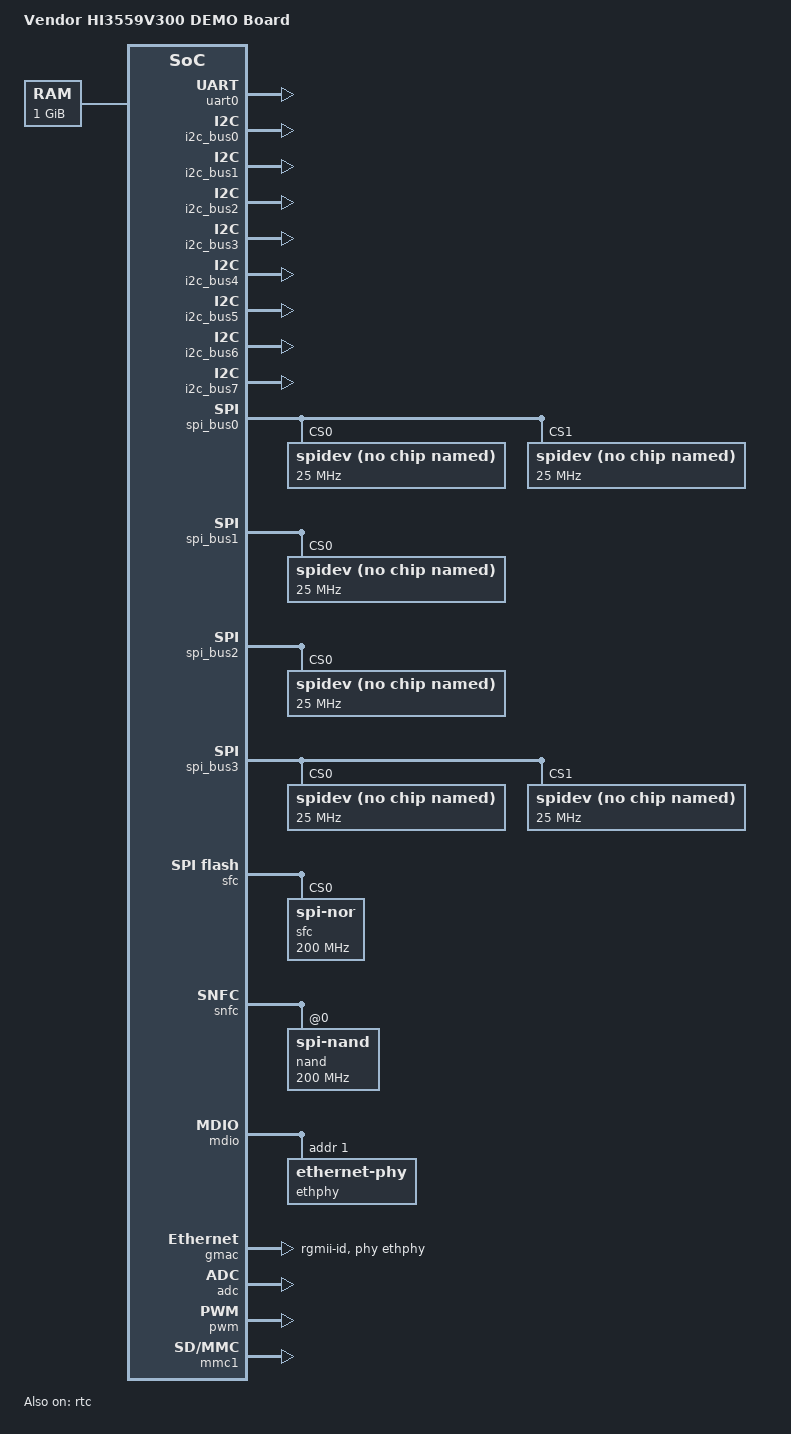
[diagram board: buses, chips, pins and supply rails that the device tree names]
/*
 * Copyright (c) HiSilicon (Shanghai) Technologies Co., Ltd. 2020-2023. All rights reserved.
 */

/dts-v1/;
/* reserved for warmreset */
/* reserved for arm trustedfirmware */
/* Modify this configuration according to the system framework */

#include "hi3559v300.dtsi"

/ {
	model = "Vendor HI3559V300 DEMO Board";
	compatible = "vendor,hi3559v300";

	aliases {
		serial0 = &uart0;

		serial1 = &uart1;
		serial2 = &uart2;
		serial3 = &uart3;
		serial4 = &uart4;
		serial5 = &uart5;

		i2c0 = &i2c_bus0;
		i2c1 = &i2c_bus1;
		i2c2 = &i2c_bus2;
		i2c3 = &i2c_bus3;
		i2c4 = &i2c_bus4;
		i2c5 = &i2c_bus5;
		i2c6 = &i2c_bus6;
		i2c7 = &i2c_bus7;

		spi0 = &spi_bus0;
		spi1 = &spi_bus1;
		spi2 = &spi_bus2;
		spi3 = &spi_bus3;

		gpio0 = &gpio_chip0;
		gpio1 = &gpio_chip1;
		gpio2 = &gpio_chip2;
		gpio3 = &gpio_chip3;
		gpio4 = &gpio_chip4;
		gpio5 = &gpio_chip5;
		gpio6 = &gpio_chip6;
		gpio7 = &gpio_chip7;
		gpio8 = &gpio_chip8;
		gpio9 = &gpio_chip9;
		gpio10 = &gpio_chip10;
		gpio11 = &gpio_chip11;
		gpio12 = &gpio_chip12;
		gpio13 = &gpio_chip13;
		gpio14 = &gpio_chip14;
	};

	chosen {
		bootargs = "earlycon=pl011,0x11040000 mem=512M console=ttyAMA0,115200 clk_ignore_unused root=/dev/mtdblock2 rootfstype=yaffs2 rw mtdparts=bspnand:1M(boot),9M(kernel),32M(rootfs),1M(this_bootargs_string_is_reserved_for_bootargs_form_uboot!!!_it_must_be_longer_than_bootargs_form_uboot!!!_this_bootargs_string_is_reserved_for_bootargs_form_uboot!!!_it_must_be_longer_than_bootargs_form_uboot!!!_this_bootargs_string_is_reserved_for_bootargs_form_uboot!!!_it_must_be_longer_than_bootargs_form_uboot!!!_this_bootargs_string_is_reserved_for_bootargs_form_uboot!!!_it_must_be_longer_than_bootargs_form_uboot!!!_this_bootargs_string_is_reserved_for_bootargs_form_uboot!!!_it_must_be_longer_than_bootargs_form_uboot!!!)";

		linux,initrd-start = <0x60000040>;
		linux,initrd-end = <0x61000000>;
	};

	cpus {
		#address-cells = <2>;
		#size-cells = <0>;

		cpu@0 {
			compatible = "arm,cortex-a55";
			device_type = "cpu";
			reg = <0x0 0x0>;
			enable-method = "psci";
			//clock-latency = <100000>; /* From legacy driver */
		};

		cpu@1 {
			compatible = "arm,cortex-a55";
			device_type = "cpu";
			reg = <0x0 0x100>;
			enable-method = "psci";
			//clock-latency = <200000>; /* From legacy driver */
		};
	};

	memory {
		device_type = "memory";
		reg = <0x0 0x40030000 0x0 0x40000000>;
	};
};

&uart0 {
	status = "okay";
};

&uart1 {
	status = "disabled";
};

&uart2 {
	status = "disabled";
};

&uart3 {
	status = "disabled";
};

&uart4 {
	status = "disabled";
};
&uart5 {
	status = "disabled";
};

&rtc{
	status = "okay";
};

&i2c_bus0 {
	status = "okay";
};

&i2c_bus1 {
	status = "okay";
};

&i2c_bus2 {
	status = "okay";
};

&i2c_bus3 {
	status = "okay";
};

&i2c_bus4 {
	status = "okay";
};

&i2c_bus5 {
	status = "okay";
};

&i2c_bus6 {
	status = "okay";
};

&i2c_bus7 {
	status = "okay";
};

&spi_bus0{
	status = "okay";

	spidev@0 {
		compatible = "rohm,dh2228fv";
		reg = <0>;
		pl022,interface = <0>;
		pl022,com-mode = <0>;
		spi-max-frequency = <25000000>;
	};
	spidev@1 {
		compatible = "rohm,dh2228fv";
		reg = <1>;
		pl022,interface = <0>;
		pl022,com-mode = <0>;
		spi-max-frequency = <25000000>;
	};
};

&spi_bus1{
	status = "okay";
	spidev@0 {
		compatible = "rohm,dh2228fv";
		reg = <0>;
		pl022,interface = <0>;
		pl022,com-mode = <0>;
		spi-max-frequency = <25000000>;
	};
};

&spi_bus2{
	status = "okay";
	spidev@0 {
		compatible = "rohm,dh2228fv";
		reg = <0>;
		pl022,interface = <0>;
		pl022,com-mode = <0>;
		spi-max-frequency = <25000000>;
	};
};

&spi_bus3{
	status = "okay";

	spidev@0 {
		compatible = "rohm,dh2228fv";
		reg = <0>;
		pl022,interface = <0>;
		pl022,com-mode = <0>;
		spi-max-frequency = <25000000>;
	};
	spidev@1 {
		compatible = "rohm,dh2228fv";
		reg = <1>;
		pl022,interface = <0>;
		pl022,com-mode = <0>;
		spi-max-frequency = <25000000>;
	};
};

&gpio_chip0 {
	status = "okay";
};

&gpio_chip1 {
	status = "okay";
};

&gpio_chip2 {
	status = "okay";
};

&gpio_chip3 {
	status = "okay";
};

&gpio_chip4 {
	status = "okay";
};

&gpio_chip5 {
	status = "okay";
};

&gpio_chip6 {
	status = "okay";
};

&gpio_chip7 {
	status = "okay";
};

&gpio_chip8 {
	status = "okay";
};

&gpio_chip9 {
	status = "okay";
};

&gpio_chip10 {
	status = "okay";
};

&gpio_chip11 {
	status = "okay";
};

&gpio_chip12 {
	status = "okay";
};

&gpio_chip13 {
	status = "okay";
};

&gpio_chip14 {
	status = "okay";
};

&sfc {
	sfc@0 {
		compatible = "jedec,spi-nor";
		reg = <0>;
		spi-max-frequency = <200000000>;
		m25p,fast-read;
	};
};

&snfc {
	nand@0 {
		compatible = "jedec,spi-nand";
		reg = <0>;
		spi-max-frequency = <200000000>;
	};
};

&mdio {
	ethphy: ethernet-phy@1 {
		reg = <1>;
	};
};

&gmac {
	phy-handle = <&ethphy>;
	phy-mode = "rgmii-id";
};

&edmacv310_0 {
	status = "disabled";
};

&adc {
	status = "okay";
};

&pwm {
	status = "okay";
};

&mmc1 {
	status = "okay";
};

&mmc2 {
	status = "disabled";
};
